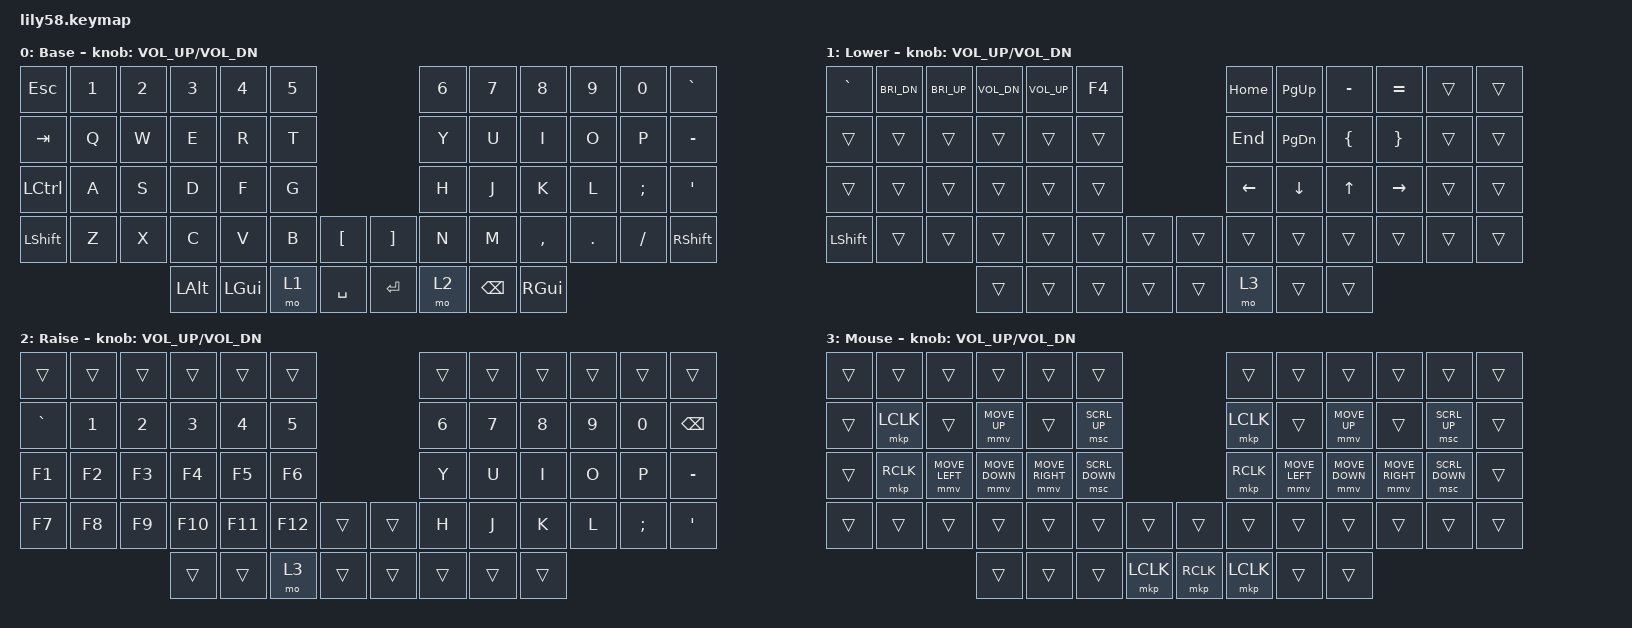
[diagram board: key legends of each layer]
/*
 * Copyright (c) 2020 The ZMK Contributors
 *
 * SPDX-License-Identifier: MIT
 */

#include <behaviors.dtsi>
#include <dt-bindings/zmk/keys.h>
#include <dt-bindings/zmk/bt.h>
#include <dt-bindings/zmk/ext_power.h>
#include <dt-bindings/zmk/pointing.h>

/ {
    keymap {
        compatible = "zmk,keymap";

        /*
         * Layer 0: Default (Base Layer)
         */
        default_layer {
            display-name = "Base";
            bindings = <
&kp ESC   &kp N1 &kp N2 &kp N3   &kp N4   &kp N5                     &kp N6 &kp N7   &kp N8    &kp N9  &kp N0   &kp GRAVE
&kp TAB   &kp Q  &kp W  &kp E    &kp R    &kp T                      &kp Y  &kp U    &kp I     &kp O   &kp P    &kp MINUS
&kp LCTRL &kp A  &kp S  &kp D    &kp F    &kp G                      &kp H  &kp J    &kp K     &kp L   &kp SEMI &kp SQT
&kp LSHFT &kp Z  &kp X  &kp C    &kp V    &kp B  &kp LBKT   &kp RBKT &kp N  &kp M    &kp COMMA &kp DOT &kp FSLH &kp RSHFT
                        &kp LALT &kp LGUI &mo 1  &kp SPACE  &kp RET  &mo 2  &kp BSPC &kp RGUI
            >;
            sensor-bindings = <&inc_dec_kp C_VOL_UP C_VOL_DN>;
        };

        /*
         * Layer 1: Left Thumb (LOWER) - Media & Function Keys
         * (Matches your screenshot 1)
         */
        lower_layer {
            display-name = "Lower";
            bindings = <
&kp GRAVE  &kp C_BRI_DN &kp C_BRI_UP &kp C_VOL_DN &kp C_VOL_UP &kp F4                        &kp HOME  &kp PG_UP &kp MINUS &kp EQUAL &trans   &trans
&trans     &trans       &trans       &trans       &trans       &trans                        &kp END   &kp PG_DN &kp LBRC  &kp RBRC  &trans   &trans
&trans     &trans       &trans       &trans       &trans       &trans                        &kp LEFT  &kp DOWN  &kp UP    &kp RIGHT &trans   &trans
&kp LSHFT  &trans       &trans       &trans       &trans       &trans    &trans    &trans    &trans    &trans    &trans    &trans    &trans   &trans
                                     &trans       &trans       &trans    &trans    &trans    &mo 3     &trans    &trans
            >;
            sensor-bindings = <&inc_dec_kp C_VOL_UP C_VOL_DN>;
        };

        /*
         * Layer 2: Right Thumb (RAISE) - Number Pad & Symbols
         * (Matches your screenshot 2)
         */
        raise_layer {
            display-name = "Raise";
            bindings = <
&trans    &trans &trans &trans  &trans  &trans                       &trans      &trans    &trans    &trans   &trans    &trans
&kp GRAVE &kp N1 &kp N2 &kp N3  &kp N4  &kp N5                       &kp N6      &kp N7    &kp N8    &kp N9   &kp N0    &kp BSPC
&kp F1    &kp F2 &kp F3 &kp F4  &kp F5  &kp F6                       &kp Y       &kp U     &kp I     &kp O    &kp P     &kp MINUS
&kp F7    &kp F8 &kp F9 &kp F10 &kp F11 &kp F12   &trans   &trans    &kp H       &kp J     &kp K     &kp L    &kp SEMI  &kp SQT
                        &trans  &trans  &mo 3     &trans   &trans    &trans      &trans    &trans
            >;
            sensor-bindings = <&inc_dec_kp C_VOL_UP C_VOL_DN>;
        };

        /*
         * Layer 3: Mouse Layer (Activated by pressing MO(1) and MO(2) together, or specific key)
         * Currently mapped to be accessible from Layer 1 or 2 via Thumb
         */
        mouse_layer {
            display-name = "Mouse";
            bindings = <
    &trans    &trans    &trans    &trans          &trans          &trans                       &trans          &trans          &trans          &trans           &trans    &trans
    &trans    &mkp LCLK &trans    &mmv MOVE_UP    &trans          &msc SCRL_UP                 &mkp LCLK       &trans          &mmv MOVE_UP    &trans           &msc SCRL_UP    &trans
    &trans    &mkp RCLK &mmv MOVE_LEFT &mmv MOVE_DOWN &mmv MOVE_RIGHT &msc SCRL_DOWN           &mkp RCLK       &mmv MOVE_LEFT  &mmv MOVE_DOWN  &mmv MOVE_RIGHT  &msc SCRL_DOWN  &trans
    &trans    &trans    &trans    &trans          &trans          &trans    &trans   &trans    &trans          &trans          &trans          &trans           &trans    &trans
                               &trans  &trans  &trans            &mkp LCLK  &mkp RCLK    &mkp LCLK          &trans          &trans
            >;
            sensor-bindings = <&inc_dec_kp C_VOL_UP C_VOL_DN>;
        };
    };
};
